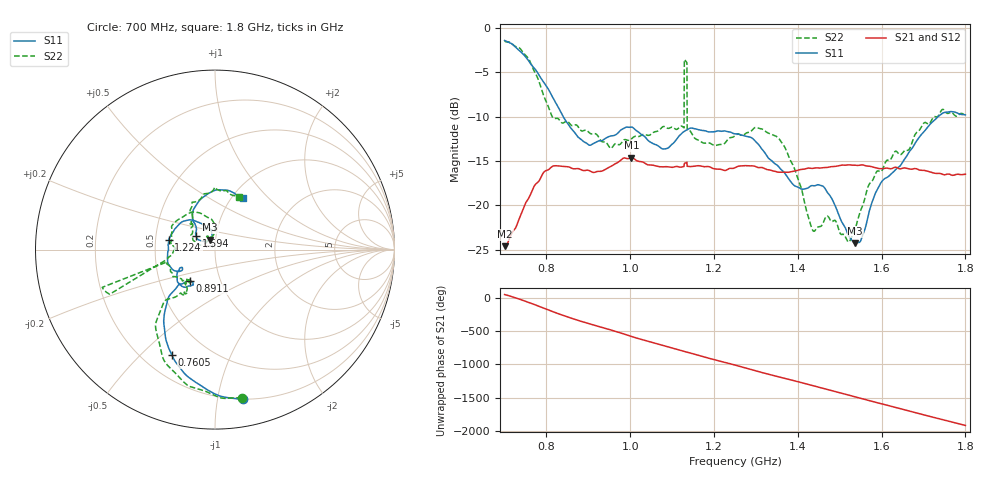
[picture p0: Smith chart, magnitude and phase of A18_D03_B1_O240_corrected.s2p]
! Created with skrf 1.9.0 (http://scikit-rf.org).
# Hz S RI R 50.0
!freq ReS11 ImS11 ReS21 ImS21 ReS12 ImS12 ReS22 ImS22
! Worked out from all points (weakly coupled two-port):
!   1601 points, 700 MHz to 1.8 GHz, reference 50 ohm
!   highest |S21| = -14.63 dB at 1.002 GHz (marker M1); lowest = -24.6 dB at 701.4 MHz (marker M2)
!   lowest |S11| = -24.3 dB at 1.537 GHz (marker M3), VSWR 1.13, Z = 47.1 + j5.23 ohm
!   |S11| at or under -10 dB: 839.9 MHz to 1.735 GHz (895.1 MHz wide, 69.5 % of centre)
!   |S22| runs from -24.1 to -1.5 dB; largest |S21 - S12| = 0.0035
!   S11 on the Smith chart (normalised r, x): 700 MHz: 0.20, -1.19; 760.5 MHz: 0.32, -0.62; 891.1 MHz: 0.71, -0.27; 1.224 GHz: 0.59, +0.07; 1.594 GHz: 0.80, +0.12; 1.8 GHz: 1.12, +0.71
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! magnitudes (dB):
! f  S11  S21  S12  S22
! 700 MHz  -1.4  -24.6  -24.4  -1.5
! 701.4 MHz  -1.5  -24.6  -24.2  -1.5
! 760.5 MHz  -3.9  -18.9  -18.8  -3.8
! 814.8 MHz  -7.8  -15.6  -15.7  -10.1
! 883.6 MHz  -12.6  -16.0  -15.9  -11.6
! 891.1 MHz  -12.9  -16.1  -16.1  -11.5
! 1.002 GHz  -11.2  -14.6  -14.7  -12.5
! 1.067 GHz  -13.3  -15.6  -15.6  -11.6
! 1.123 GHz  -11.9  -15.7  -15.6  -11.1
! 1.13 GHz  -11.6  -15.3  -15.3  -3.6
! 1.135 GHz  -11.5  -15.1  -15.2  -3.9
! 1.141 GHz  -11.3  -15.6  -15.6  -11.5
! 1.224 GHz  -11.6  -16.1  -16.0  -13.1
! 1.25 GHz  -11.9  -15.8  -15.7  -12.1
! 1.355 GHz  -15.7  -16.3  -16.2  -12.5
! 1.434 GHz  -17.8  -15.8  -15.8  -22.6
! 1.464 GHz  -18.1  -15.7  -15.7  -21.5
! 1.537 GHz  -24.3  -15.5  -15.5  -22.6
! 1.594 GHz  -17.8  -15.8  -15.8  -16.1
! 1.617 GHz  -16.7  -15.8  -15.8  -14.9
! 1.739 GHz  -9.9  -16.4  -16.4  -9.6
! 1.8 GHz  -9.8  -16.5  -16.5  -9.8
